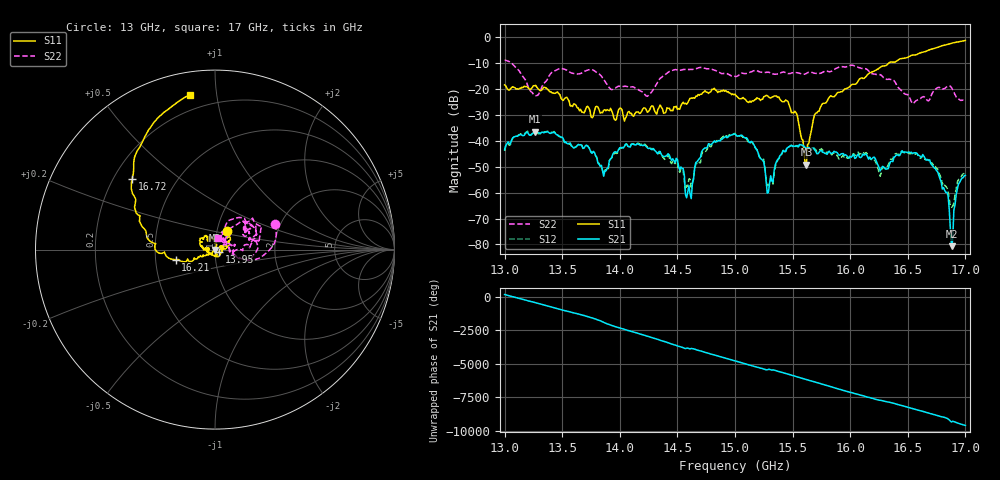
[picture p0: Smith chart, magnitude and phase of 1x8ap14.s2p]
!Keysight Technologies,P9374A,MY57211807,A.19.30.04
!Date: Friday, May 08, 2026 14:33:29
!Correction: S11(C  2-Port  )
!S21(C  2-Port  )
!S12(C  2-Port  )
!S22(C  2-Port  )
!S2P File: Measurements: S11, S21, S12, S22:
# Hz S  dB  R 50
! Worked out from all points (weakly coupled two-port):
!   401 points, 13 GHz to 17 GHz, reference 50 ohm
!   highest |S21| = -36.45 dB at 13.26 GHz (marker M1); lowest = -80.7 dB at 16.88 GHz (marker M2)
!   lowest |S11| = -49.2 dB at 15.62 GHz (marker M3), VSWR 1.01, Z = 49.7 - j0.234 ohm
!   |S11| at or under -10 dB: start of sweep to 16.33 GHz
!   |S22| runs from -25.5 to -8.8 dB; largest |S21 - S12| = 0.0012
!   S11 on the Smith chart (normalised r, x): 13 GHz: 1.12, +0.23; 13.95 GHz: 1.04, -0.03; 16.21 GHz: 0.64, -0.07; 16.72 GHz: 0.28, +0.34; 17 GHz: 0.12, +0.84
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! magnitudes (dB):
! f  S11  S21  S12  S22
! 13 GHz  -18.4  -43.4  -43.8  -8.8
! 13.26 GHz  -18.7  -36.4  -36.4  -22.4
! 13.67 GHz  -28.8  -41.7  -41.7  -13.7
! 13.87 GHz  -28.0  -51.7  -51.2  -17.0
! 13.95 GHz  -31.4  -44.4  -45.0  -19.8
! 14.34 GHz  -27.1  -44.1  -44.5  -16.4
! 14.51 GHz  -27.5  -49.8  -51.3  -12.6
! 14.6 GHz  -24.3  -57.3  -54.6  -12.4
! 14.73 GHz  -21.1  -43.0  -43.9  -11.8
! 15 GHz  -21.9  -37.3  -37.1  -15.0
! 15.17 GHz  -24.1  -42.0  -42.3  -12.8
! 15.29 GHz  -22.9  -59.9  -57.1  -13.5
! 15.52 GHz  -28.5  -42.2  -42.0  -13.6
! 15.62 GHz  -49.2  -42.9  -42.8  -13.9
! 15.67 GHz  -34.3  -43.0  -42.8  -13.6
! 16.21 GHz  -12.9  -46.3  -47.4  -14.2
! 16.34 GHz  -9.8  -49.1  -48.0  -16.2
! 16.55 GHz  -6.8  -44.6  -45.3  -25.5
! 16.72 GHz  -4.4  -49.9  -49.3  -21.0
! 16.83 GHz  -2.9  -59.9  -57.5  -19.4
! 16.88 GHz  -2.3  -80.7  -65.6  -19.5
! 17 GHz  -1.2  -53.3  -52.1  -23.8
